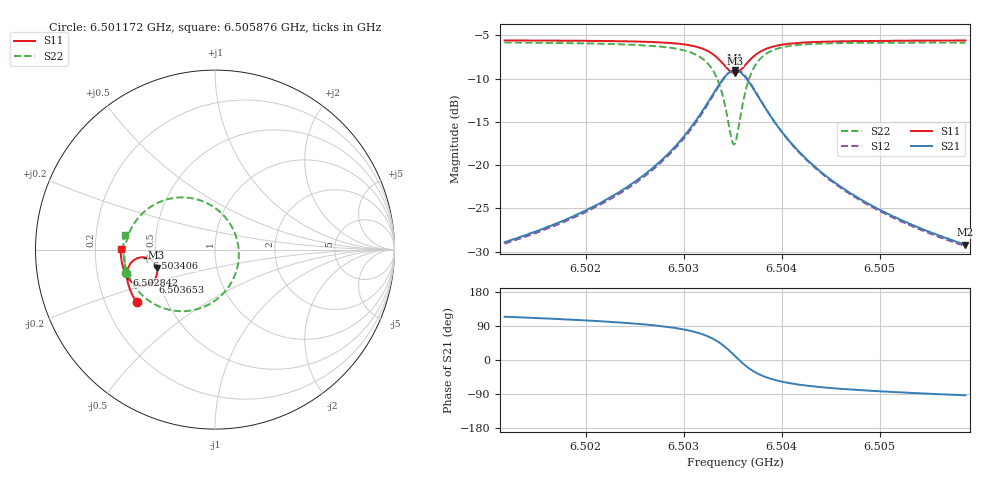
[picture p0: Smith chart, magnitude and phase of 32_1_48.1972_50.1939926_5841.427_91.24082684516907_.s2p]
#  HZ  S  RI  R  50.00
! Rohde & Schwarz Vector Network Analyzer
! Rohde-Schwarz,ZNB20-2Port,1311601062101988,3.16
! Created: UTC 3/20/2024, 11:37:29 AM
! freq[Hz]  re:S11  im:S11  re:S21  im:S21  re:S12  im:S12  re:S22  im:S22
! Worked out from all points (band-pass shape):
!   401 points, 6.501172 GHz to 6.505876 GHz, reference 50 ohm
!   highest |S21| = -9.02 dB at 6.503524 GHz (marker M1); lowest = -29.2 dB at 6.505876 GHz (marker M2)
!   |S21| within 3 dB of the highest: 6.503287 GHz to 6.503758 GHz (470.8 kHz wide, 0.00724 % of centre)
!   lowest |S11| = -9.3 dB at 6.503524 GHz (marker M3), VSWR 2.03, Z = 25 - j5.7 ohm
!   |S11| at or under -10 dB: nowhere
!   |S22| runs from -17.6 to -5.8 dB; largest |S21 - S12| = 0.012
!   S11 on the Smith chart (normalised r, x): 6.501172 GHz: 0.34, -0.27; 6.502842 GHz: 0.33, -0.12; 6.503406 GHz: 0.45, -0.05; 6.503653 GHz: 0.46, -0.20; 6.505876 GHz: 0.31, +0.00
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6.5011716e9  -0.4363 -0.2945  -0.0147 0.0327  -0.0129 0.0327  -0.4954 -0.1327
6.5019597e9  -0.4687 -0.2343  -0.0137 0.0515  -0.0113 0.051  -0.5046 -0.0449
6.5024184e9  -0.4838 -0.1916  -0.0099 0.0737  -0.00681 0.0724  -0.4982 0.0254
6.5027477e9  -0.4904 -0.1529  -0.00016 0.1036  0.00355 0.1009  -0.4761 0.0977
6.5028418e9  -0.4906 -0.1394  0.00571 0.116  0.00954 0.113  -0.4627 0.1246
6.5030418e9  -0.4847 -0.1046  0.0313 0.1531  0.0348 0.1482  -0.4102 0.1957
6.5031829e9  -0.468 -0.074  0.0734 0.1884  0.076 0.1821  -0.3285 0.2559
6.5033123e9  -0.4298 -0.0471  0.1547 0.2142  0.1551 0.2079  -0.1807 0.291
6.5034064e9  -0.381 -0.0455  0.2504 0.1952  0.2503 0.1906  -0.0149 0.2424
6.5034888e9  -0.3365 -0.0773  0.3308 0.1156  0.3336 0.1113  0.1133 0.0848
6.5035241e9  -0.3257 -0.1007  0.3481 0.0642  0.3521 0.0586  0.133 -0.012
6.5035476e9  -0.3228 -0.1178  0.3511 0.028  0.3554 0.021  0.1289 -0.0783
6.5035829e9  -0.3254 -0.143  0.3424 -0.024  0.3462 -0.0334  0.0982 -0.1708
6.5036534e9  -0.3491 -0.1815  0.2923 -0.1025  0.2923 -0.1146  -0.0194 -0.2972
6.5037475e9  -0.3917 -0.2016  0.2105 -0.1463  0.2054 -0.1569  -0.1861 -0.3433
6.5038181e9  -0.4186 -0.2015  0.1611 -0.1511  0.1541 -0.1593  -0.2783 -0.3291
6.5039004e9  -0.4425 -0.1943  0.1191 -0.1445  0.1116 -0.1502  -0.3519 -0.296
6.5040769e9  -0.4737 -0.1715  0.0674 -0.1208  0.0607 -0.1232  -0.4356 -0.2216
6.5043121e9  -0.4951 -0.1419  0.0358 -0.0944  0.0306 -0.0949  -0.4809 -0.1461
6.504665e9  -0.5109 -0.1035  0.0158 -0.0694  0.0122 -0.0688  -0.5042 -0.0692
6.5051002e9  -0.5205 -0.0622  0.00549 -0.0515  0.0031 -0.0507  -0.5108 -0.00331
6.5058765e9  -0.526 0.00459  -0.00193 -0.0346  -0.00326 -0.0338  -0.5041 0.0827
